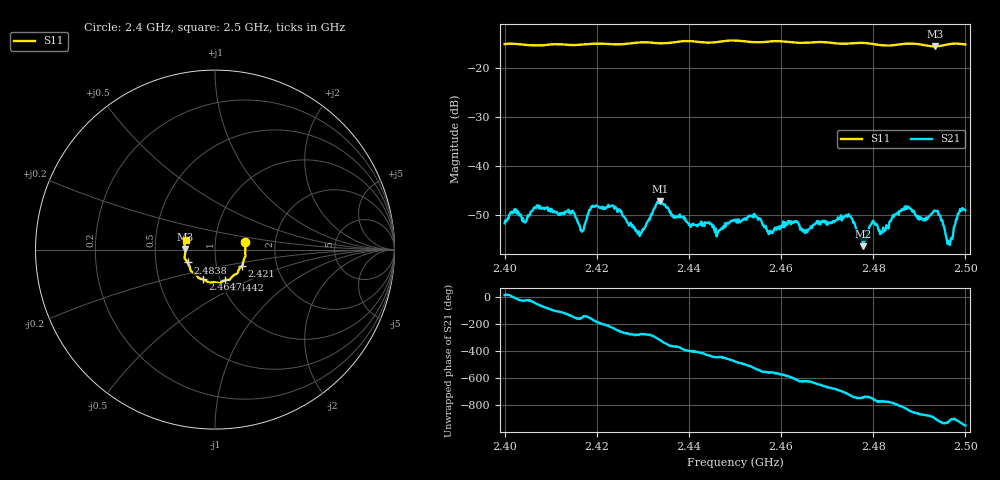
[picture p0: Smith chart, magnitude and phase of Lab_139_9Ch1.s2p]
# Hz S RI R 50
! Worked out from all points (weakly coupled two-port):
!   601 points, 2.4 GHz to 2.5 GHz, reference 50 ohm
!   highest |S21| = -47.18 dB at 2.4337 GHz (marker M1); lowest = -56.3 dB at 2.4778 GHz (marker M2)
!   lowest |S11| = -15.7 dB at 2.4935 GHz (marker M3), VSWR 1.39, Z = 35.8 + j0.194 ohm
!   |S11| at or under -10 dB: start of sweep to end of sweep
!   S12 and S22 are empty: the file has one direction only
!   S11 on the Smith chart (normalised r, x): 2.4 GHz: 1.40, +0.12; 2.421 GHz: 1.33, -0.24; 2.4442 GHz: 1.05, -0.37; 2.4647 GHz: 0.83, -0.28; 2.4838 GHz: 0.73, -0.11; 2.5 GHz: 0.71, +0.08
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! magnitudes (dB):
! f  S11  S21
! 2.4 GHz  -15.2  -51.7
! 2.4072 GHz  -15.5  -48.1
! 2.4147 GHz  -15.4  -49.1
! 2.4167 GHz  -15.3  -53.1
! 2.4188 GHz  -15.1  -48.3
! 2.421 GHz  -15.1  -48.6
! 2.4293 GHz  -14.9  -54.3
! 2.4333 GHz  -15.0  -47.5
! 2.4337 GHz  -15.0  -47.2
! 2.4442 GHz  -14.9  -51.5
! 2.4462 GHz  -14.8  -53.9
! 2.45 GHz  -14.5  -50.9
! 2.4647 GHz  -14.9  -53.3
! 2.4667 GHz  -14.8  -52.7
! 2.4745 GHz  -15.1  -50.3
! 2.4778 GHz  -15.0  -56.3
! 2.4797 GHz  -15.1  -51.7
! 2.4833 GHz  -15.5  -52.7
! 2.4838 GHz  -15.5  -51.2
! 2.4935 GHz  -15.7  -49.2
! 2.4965 GHz  -15.2  -55.5
! 2.5 GHz  -15.3  -49.0
